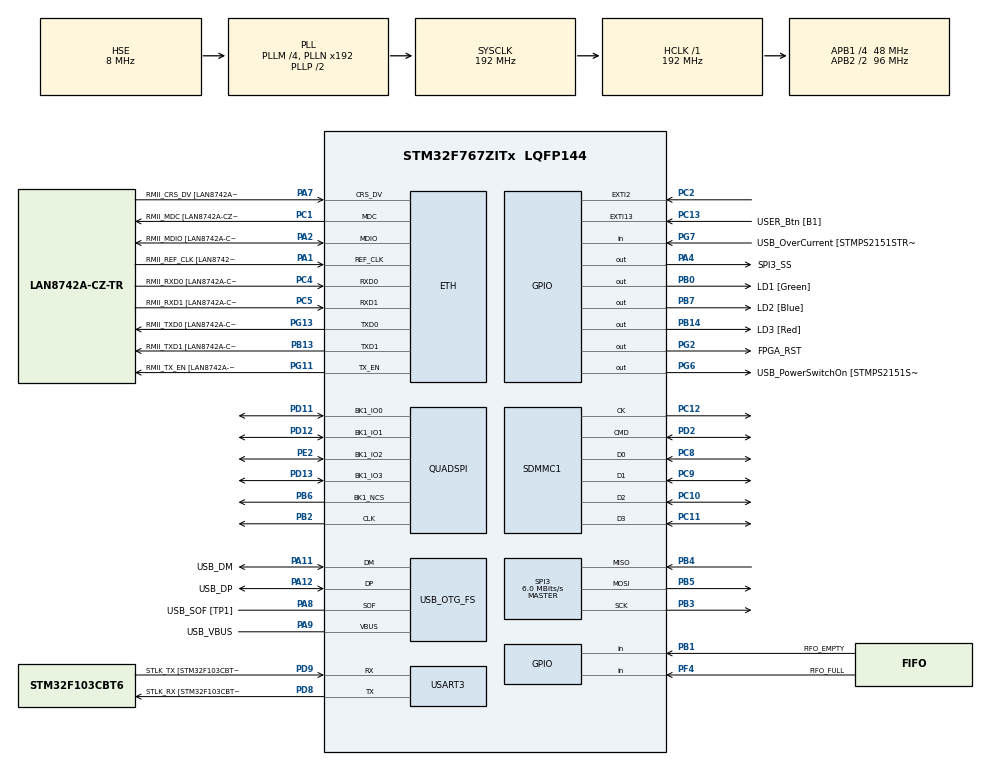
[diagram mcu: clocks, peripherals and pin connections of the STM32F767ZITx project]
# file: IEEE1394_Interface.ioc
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Dma.Request0=SDMMC1_RX
Dma.Request1=SDMMC1_TX
Dma.SDMMC1_RX.0.Direction=DMA_PERIPH_TO_MEMORY
Dma.SDMMC1_RX.0.FIFOMode=DMA_FIFOMODE_ENABLE
Dma.SDMMC1_RX.0.FIFOThreshold=DMA_FIFO_THRESHOLD_FULL
Dma.SDMMC1_RX.0.Instance=DMA2_Stream3
Dma.SDMMC1_RX.0.MemBurst=DMA_MBURST_INC4
Dma.SDMMC1_RX.0.MemDataAlignment=DMA_MDATAALIGN_WORD
Dma.SDMMC1_RX.0.MemInc=DMA_MINC_ENABLE
Dma.SDMMC1_RX.0.Mode=DMA_PFCTRL
Dma.SDMMC1_RX.0.PeriphBurst=DMA_PBURST_INC4
Dma.SDMMC1_RX.0.PeriphDataAlignment=DMA_PDATAALIGN_WORD
Dma.SDMMC1_RX.0.PeriphInc=DMA_PINC_DISABLE
Dma.SDMMC1_RX.0.Priority=DMA_PRIORITY_LOW
Dma.SDMMC1_TX.1.Direction=DMA_MEMORY_TO_PERIPH
Dma.SDMMC1_TX.1.FIFOMode=DMA_FIFOMODE_ENABLE
Dma.SDMMC1_TX.1.FIFOThreshold=DMA_FIFO_THRESHOLD_FULL
Dma.SDMMC1_TX.1.Instance=DMA2_Stream6
Dma.SDMMC1_TX.1.MemBurst=DMA_MBURST_INC4
Dma.SDMMC1_TX.1.MemDataAlignment=DMA_MDATAALIGN_WORD
Dma.SDMMC1_TX.1.MemInc=DMA_MINC_ENABLE
Dma.SDMMC1_TX.1.Mode=DMA_PFCTRL
Dma.SDMMC1_TX.1.PeriphBurst=DMA_PBURST_INC4
Dma.SDMMC1_TX.1.PeriphDataAlignment=DMA_PDATAALIGN_WORD
Dma.SDMMC1_TX.1.PeriphInc=DMA_PINC_DISABLE
Dma.SDMMC1_TX.1.Priority=DMA_PRIORITY_LOW
ETH.MediaInterface=HAL_ETH_RMII_MODE
ETH.PHY_Name=LAN8742A_PHY_ADDRESS
ETH.PHY_Value=0
ETH.PhyAddress=0
FATFS.BSP.number=1
FATFS.USE_DMA_CODE_SD=1
FATFS._MAX_SS=4096
FATFS._USE_LFN=1
FATFS0.BSP.STBoard=false
FATFS0.BSP.api=Unknown
FATFS0.BSP.instance=PG7
FATFS0.BSP.ip=GPIO
FATFS0.BSP.mode=Input
FATFS0.BSP.name=Detect_SDIO
FATFS0.BSP.solution=PG7
Mcu.Family=STM32F7
Mcu.Name=STM32F767ZITx
Mcu.Package=LQFP144
NVIC.DMA2_Stream3_IRQn=true\:0\:0\:false\:false\:true\:false\:true\:true
NVIC.DMA2_Stream6_IRQn=true\:0\:0\:false\:false\:true\:false\:true\:true
NVIC.EXTI2_IRQn=true\:0\:0\:false\:false\:true\:true\:true\:true
NVIC.OTG_FS_IRQn=true\:0\:0\:false\:false\:true\:false\:true\:true
NVIC.PriorityGroup=NVIC_PRIORITYGROUP_4
NVIC.QUADSPI_IRQn=true\:0\:0\:false\:false\:true\:true\:true\:true
NVIC.SDMMC1_IRQn=true\:0\:0\:false\:false\:true\:true\:true\:true
PA1.GPIO_Label=RMII_REF_CLK [LAN8742A-CZ-TR_REFCLK0]
PA1.Mode=RMII
PA1.Signal=ETH_REF_CLK
PA10.GPIO_Label=USB_ID
PA10.Signal=USB_OTG_FS_ID
PA11.GPIO_Label=USB_DM
PA11.Mode=Device_Only
PA11.Signal=USB_OTG_FS_DM
PA12.GPIO_Label=USB_DP
PA12.Mode=Device_Only
PA12.Signal=USB_OTG_FS_DP
PA13.GPIO_Label=TMS
PA13.Mode=Serial_Wire
PA13.Signal=SYS_JTMS-SWDIO
PA14.GPIO_Label=TCK
PA14.Mode=Serial_Wire
PA14.Signal=SYS_JTCK-SWCLK
PA2.GPIO_Label=RMII_MDIO [LAN8742A-CZ-TR_MDIO]
PA2.Mode=RMII
PA2.Signal=ETH_MDIO
PA4.GPIO_Label=SPI3_SS
PA4.Signal=GPIO_Output
PA7.GPIO_Label=RMII_CRS_DV [LAN8742A-CZ-TR_CRS_DV]
PA7.Mode=RMII
PA7.Signal=ETH_CRS_DV
PA8.GPIO_Label=USB_SOF [TP1]
PA8.Mode=Activate_SOF_FS
PA8.Signal=USB_OTG_FS_SOF
PA9.GPIO_Label=USB_VBUS
PA9.Mode=Activate_VBUS
PA9.Signal=USB_OTG_FS_VBUS
PB0.GPIO_Label=LD1 [Green]
PB0.Signal=GPIO_Output
PB1.GPIO_Label=FIFO_EMPTY
PB1.Signal=GPIO_Input
PB13.GPIO_Label=RMII_TXD1 [LAN8742A-CZ-TR_TXD1]
PB13.Mode=RMII
PB13.Signal=ETH_TXD1
PB14.GPIO_Label=LD3 [Red]
PB14.Signal=GPIO_Output
PB2.Mode=Single Bank 1
PB2.Signal=QUADSPI_CLK
PB3.Mode=Full_Duplex_Master
PB3.Signal=SPI3_SCK
PB4.Mode=Full_Duplex_Master
PB4.Signal=SPI3_MISO
PB5.Mode=Full_Duplex_Master
PB5.Signal=SPI3_MOSI
PB6.Mode=Single Bank 1
PB6.Signal=QUADSPI_BK1_NCS
PB7.GPIO_Label=LD2 [Blue]
PB7.Signal=GPIO_Output
PC1.GPIO_Label=RMII_MDC [LAN8742A-CZ-TR_MDC]
PC1.Mode=RMII
PC1.Signal=ETH_MDC
PC10.GPIO_PuPd=GPIO_PULLUP
PC10.Mode=SD_4_bits_Wide_bus
PC10.Signal=SDMMC1_D2
PC11.GPIO_PuPd=GPIO_PULLUP
PC11.Mode=SD_4_bits_Wide_bus
PC11.Signal=SDMMC1_D3
PC12.Mode=SD_4_bits_Wide_bus
PC12.Signal=SDMMC1_CK
PC13.GPIO_Label=USER_Btn [B1]
PC13.Signal=GPXTI13
PC14/OSC32_IN.Mode=LSE-External-Oscillator
PC14/OSC32_IN.Signal=RCC_OSC32_IN
PC15/OSC32_OUT.Mode=LSE-External-Oscillator
PC15/OSC32_OUT.Signal=RCC_OSC32_OUT
PC2.Signal=GPXTI2
PC4.GPIO_Label=RMII_RXD0 [LAN8742A-CZ-TR_RXD0]
PC4.Mode=RMII
PC4.Signal=ETH_RXD0
PC5.GPIO_Label=RMII_RXD1 [LAN8742A-CZ-TR_RXD1]
PC5.Mode=RMII
PC5.Signal=ETH_RXD1
PC8.GPIO_PuPd=GPIO_PULLUP
PC8.Mode=SD_4_bits_Wide_bus
PC8.Signal=SDMMC1_D0
PC9.GPIO_PuPd=GPIO_PULLUP
PC9.Mode=SD_4_bits_Wide_bus
PC9.Signal=SDMMC1_D1
PD11.Mode=Single Bank 1
PD11.Signal=QUADSPI_BK1_IO0
PD12.Mode=Single Bank 1
PD12.Signal=QUADSPI_BK1_IO1
PD13.Mode=Single Bank 1
PD13.Signal=QUADSPI_BK1_IO3
PD2.GPIO_PuPd=GPIO_PULLUP
PD2.Mode=SD_4_bits_Wide_bus
PD2.Signal=SDMMC1_CMD
PD8.GPIO_Label=STLK_RX [STM32F103CBT6_PA3]
PD8.Mode=Asynchronous
PD8.Signal=USART3_TX
PD9.GPIO_Label=STLK_TX [STM32F103CBT6_PA2]
PD9.Mode=Asynchronous
PD9.Signal=USART3_RX
PE2.Mode=Single Bank 1
PE2.Signal=QUADSPI_BK1_IO2
PF4.GPIO_Label=FIFO_FULL
PF4.Signal=GPIO_Input
PG11.GPIO_Label=RMII_TX_EN [LAN8742A-CZ-TR_TXEN]
PG11.Mode=RMII
PG11.Signal=ETH_TX_EN
PG13.GPIO_Label=RMII_TXD0 [LAN8742A-CZ-TR_TXD0]
PG13.Mode=RMII
PG13.Signal=ETH_TXD0
PG2.GPIO_Label=FPGA_RST
PG2.Signal=GPIO_Output
PG6.GPIO_Label=USB_PowerSwitchOn [STMPS2151STR_EN]
PG6.Signal=GPIO_Output
PG7.GPIO_Label=USB_OverCurrent [STMPS2151STR_FAULT]
PG7.Signal=GPIO_Input
PH0/OSC_IN.GPIO_Label=MCO [STM32F103CBT6_PA8]
PH0/OSC_IN.Mode=HSE-External-Clock-Source
PH0/OSC_IN.Signal=RCC_OSC_IN
PH1/OSC_OUT.Mode=HSE-External-Clock-Source
PH1/OSC_OUT.Signal=RCC_OSC_OUT
ProjectManager.HeapSize=0x400
ProjectManager.StackSize=0x800
ProjectManager.TargetToolchain=STM32CubeIDE
QUADSPI.ChipSelectHighTime=QSPI_CS_HIGH_TIME_4_CYCLE
QUADSPI.ClockPrescaler=1
QUADSPI.FifoThreshold=4
QUADSPI.FlashSize=31
QUADSPI.SampleShifting=QSPI_SAMPLE_SHIFTING_HALFCYCLE
RCC.48MHZClocksFreq_Value=24000000
RCC.AHBFreq_Value=192000000
RCC.APB1CLKDivider=RCC_HCLK_DIV4
RCC.APB1Freq_Value=48000000
RCC.APB1TimFreq_Value=96000000
RCC.APB2CLKDivider=RCC_HCLK_DIV2
RCC.APB2Freq_Value=96000000
RCC.APB2TimFreq_Value=192000000
RCC.CortexFreq_Value=192000000
RCC.HCLKFreq_Value=192000000
RCC.HSE_VALUE=8000000
RCC.HSI_VALUE=16000000
RCC.PLLM=4
RCC.PLLMUL=RCC_PLL_MUL9
RCC.PLLQ=8
RCC.PRESCALERUSB=RCC_USBCLKSOURCE_PLL_DIV1_5
RCC.SDMMCClockSelection=RCC_SDMMC1CLKSOURCE_CLK48
RCC.SYSCLKFreq_VALUE=192000000
RCC.SYSCLKSource=RCC_SYSCLKSOURCE_PLLCLK
RCC.SYSCLKSourceVirtual=RCC_SYSCLKSOURCE_PLLCLK
RCC.USBFreq_Value=48000000
RCC.VCOOutputFreq_Value=384000000
SDMMC1.ClockDiv=0
SPI3.BaudRatePrescaler=SPI_BAUDRATEPRESCALER_8
SPI3.CLKPhase=SPI_PHASE_2EDGE
SPI3.CLKPolarity=SPI_POLARITY_HIGH
SPI3.CalculateBaudRate=6.0 MBits/s
SPI3.DataSize=SPI_DATASIZE_8BIT
SPI3.Direction=SPI_DIRECTION_2LINES
SPI3.Mode=SPI_MODE_MASTER
SPI3.VirtualType=VM_MASTER
TIM2.AutoReloadPreload=TIM_AUTORELOAD_PRELOAD_ENABLE
TIM2.Prescaler=95
USART3.VirtualMode-Asynchronous=VM_ASYNC
USB_DEVICE.CLASS_NAME_FS=CDC
USB_DEVICE.VirtualMode-CDC_FS=Cdc
USB_DEVICE.VirtualModeFS=Cdc_FS
USB_OTG_FS.VirtualMode=Device_Only
VP_FATFS_VS_SDIO.Mode=SDIO
VP_TIM2_VS_ClockSourceINT.Mode=Internal
VP_USB_DEVICE_VS_USB_DEVICE_CDC_FS.Mode=CDC_FS
board=NUCLEO-F767ZI

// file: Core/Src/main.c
/* USER CODE BEGIN Header */
/**
 ******************************************************************************
 * @file           : main.c
 * @brief          : Main program body
 ******************************************************************************
 * @attention
 *
 * Copyright (c) 2025 STMicroelectronics.
 * All rights reserved.
 *
 * This software is licensed under terms that can be found in the LICENSE file
 * in the root directory of this software component.
 * If no LICENSE file comes with this software, it is provided AS-IS.
 *
 ******************************************************************************
 */
/* USER CODE END Header */
#include "main.h"
#include "dma.h"
#include "eth.h"
#include "fatfs.h"
#include "quadspi.h"
#include "sdmmc.h"
#include "spi.h"
#include "tim.h"
#include "usart.h"
#include "usb_device.h"
#include "gpio.h"

/* USER CODE BEGIN Includes */
#include "string.h"
#include <stdio.h>
//#include "usbd_cdc_if.h"
/* USER CODE END Includes */

/* USER CODE BEGIN PV */
volatile uint8_t readFlag = 0;

#define BUFFER_SIZE 256000
#define NUM_BUFFERS 2

uint8_t frameBuffers[NUM_BUFFERS][BUFFER_SIZE];
uint8_t readBufferIndex = 0;
uint8_t writeBufferIndex = 0;
uint8_t numFullBuffers = 0;

char TxBuffer[250];
/* USER CODE END PV */

void SystemClock_Config(void);

int main(void) {

	/* USER CODE BEGIN 1 */
//	  FRESULT res; /* FatFs function common result code */
//	  uint32_t byteswritten, bytesread; /* File write/read counts */
//	  uint8_t wtext[] = "STM32 FATFS works great!"; /* File write buffer */
//	  uint8_t rtext[_MAX_SS];/* File read buffer */
	/* USER CODE END 1 */

	/* MCU Configuration--------------------------------------------------------*/

	/* Reset of all peripherals, Initializes the Flash interface and the Systick. */
	HAL_Init();

	/* Configure the system clock */
	SystemClock_Config();

	/* Initialize all configured peripherals */
	MX_GPIO_Init();
	MX_DMA_Init();
	MX_ETH_Init();
	MX_USART3_UART_Init();
	MX_QUADSPI_Init();
	MX_SDMMC1_SD_Init();
	MX_FATFS_Init();
	MX_SPI3_Init();
	MX_USB_DEVICE_Init();
	MX_TIM2_Init();
	/* USER CODE BEGIN 2 */

	readBufferIndex = 0;
	writeBufferIndex = 0;
	numFullBuffers = 0;

	/* USER CODE END 2 */

	/* Infinite loop */
	/* USER CODE BEGIN WHILE */

	FATFS FatFs;
	FIL Fil;

	//------------------[ Mount The SD Card ]--------------------
	if (f_mount(&FatFs, SDPath, 1) != FR_OK)
		__BKPT();

	uint32_t readCounter = 0;

	if (f_open(&Fil, "file.raw", FA_WRITE | FA_READ | FA_CREATE_ALWAYS)
			!= FR_OK)
		__BKPT();

	/* EXTI interrupt init*/
//	HAL_NVIC_SetPriority(EXTI2_IRQn, 0, 0);
//	HAL_NVIC_EnableIRQ(EXTI2_IRQn);
	HAL_TIM_Base_Start_IT(&htim2);
	uint32_t timerValue = __HAL_TIM_GetCounter(&htim2);
	HAL_Delay(1000);
	uint32_t max = 0;
	uint32_t min = -1;
	unsigned int unused;
	uint32_t times[50];

	for (uint8_t i = 0; i < 50; ++i) {
//	while (1) {
		uint32_t start = __HAL_TIM_GetCounter(&htim2);
		f_write(&Fil, frameBuffers[writeBufferIndex + 1], BUFFER_SIZE, &unused);
		uint32_t time = __HAL_TIM_GetCounter(&htim2) - start;
		if (time > max)
			max = time;
		if (time < min)
			min = time;
		times[i] = time;
	}
	f_close(&Fil);
	__BKPT();

	writeBufferIndex = ++writeBufferIndex % NUM_BUFFERS;
	--numFullBuffers;
	++readCounter;
//		}
//		if (readCounter == 1000) {
//			f_close(&Fil);
//			__BKPT();
//		}
	/* USER CODE END WHILE */

}
//}
void SystemClock_Config(void) {
	RCC_OscInitTypeDef RCC_OscInitStruct = { 0 };
	RCC_ClkInitTypeDef RCC_ClkInitStruct = { 0 };

	/** Configure LSE Drive Capability
	 */
	HAL_PWR_EnableBkUpAccess();

	/** Configure the main internal regulator output voltage
	 */
	__HAL_RCC_PWR_CLK_ENABLE();
	__HAL_PWR_VOLTAGESCALING_CONFIG(PWR_REGULATOR_VOLTAGE_SCALE1);

	/** Initializes the RCC Oscillators according to the specified parameters
	 * in the RCC_OscInitTypeDef structure.
	 */
	RCC_OscInitStruct.OscillatorType = RCC_OSCILLATORTYPE_HSE;
	RCC_OscInitStruct.HSEState = RCC_HSE_BYPASS;
	RCC_OscInitStruct.PLL.PLLState = RCC_PLL_ON;
	RCC_OscInitStruct.PLL.PLLSource = RCC_PLLSOURCE_HSE;
	RCC_OscInitStruct.PLL.PLLM = 4;
	RCC_OscInitStruct.PLL.PLLN = 192;
	RCC_OscInitStruct.PLL.PLLP = RCC_PLLP_DIV2;
	RCC_OscInitStruct.PLL.PLLQ = 8;
	RCC_OscInitStruct.PLL.PLLR = 2;
	if (HAL_RCC_OscConfig(&RCC_OscInitStruct) != HAL_OK) {
		Error_Handler();
	}

	/** Activate the Over-Drive mode
	 */
	if (HAL_PWREx_EnableOverDrive() != HAL_OK) {
		Error_Handler();
	}

	/** Initializes the CPU, AHB and APB buses clocks
	 */
	RCC_ClkInitStruct.ClockType = RCC_CLOCKTYPE_HCLK | RCC_CLOCKTYPE_SYSCLK
			| RCC_CLOCKTYPE_PCLK1 | RCC_CLOCKTYPE_PCLK2;
	RCC_ClkInitStruct.SYSCLKSource = RCC_SYSCLKSOURCE_PLLCLK;
	RCC_ClkInitStruct.AHBCLKDivider = RCC_SYSCLK_DIV1;
	RCC_ClkInitStruct.APB1CLKDivider = RCC_HCLK_DIV4;
	RCC_ClkInitStruct.APB2CLKDivider = RCC_HCLK_DIV2;

	if (HAL_RCC_ClockConfig(&RCC_ClkInitStruct, FLASH_LATENCY_6) != HAL_OK) {
		Error_Handler();
	}
}

/* USER CODE BEGIN 4 */
uint32_t bytesRead = 0;
void HAL_GPIO_EXTI_Callback(uint16_t GPIO_Pin) {
//	if (GPIO_Pin == GPIO_PIN_2) {
//		// Cant keep up
//		if (numFullBuffers > 1) {
//			++numFullBuffers;
//			return;
//		}
//
//		memcpy(frameBuffers[readBufferIndex++],
//				(uint8_t*) (QSPI_MEMORY_START_ADDRESS + bytesRead),
//				BUFFER_SIZE);
//		readBufferIndex = (++readBufferIndex) % NUM_BUFFERS;
//		bytesRead = (bytesRead + BUFFER_SIZE) & 0xfffffff;
//		++numFullBuffers;
//	}
}

/* USER CODE END 4 */

void Error_Handler(void) {
	__disable_irq();
	while (1) {
	}
}
